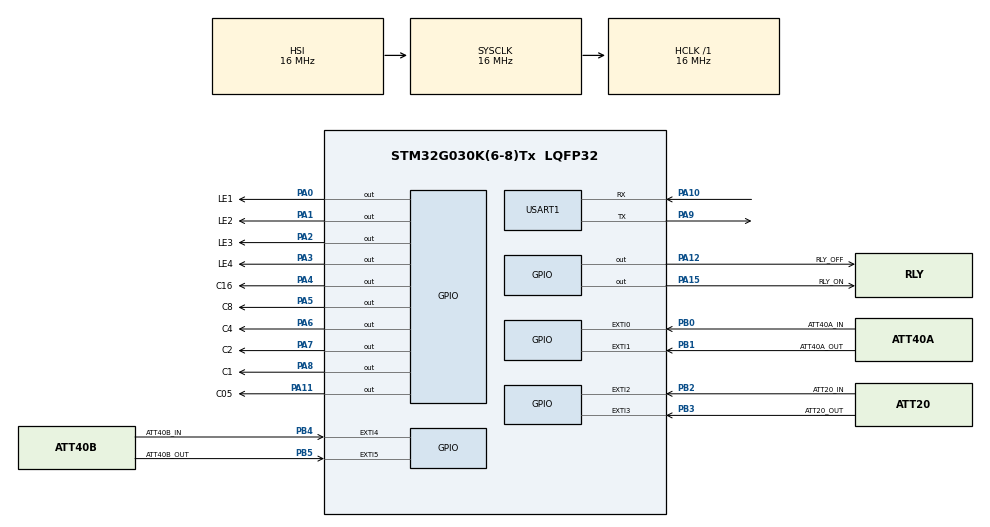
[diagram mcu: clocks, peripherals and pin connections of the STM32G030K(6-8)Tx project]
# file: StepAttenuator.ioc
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Mcu.Family=STM32G0
Mcu.Name=STM32G030K(6-8)Tx
Mcu.Package=LQFP32
NVIC.EXTI0_1_IRQn=true\:0\:0\:false\:false\:true\:true\:true\:true
NVIC.EXTI2_3_IRQn=true\:0\:0\:false\:false\:true\:true\:true\:true
NVIC.EXTI4_15_IRQn=true\:0\:0\:false\:false\:true\:true\:true\:true
PA0.GPIO_Label=LE1
PA0.Signal=GPIO_Output
PA1.GPIO_Label=LE2
PA1.Signal=GPIO_Output
PA10.Mode=Asynchronous
PA10.Signal=USART1_RX
PA11\ [PA9].GPIO_Label=C05
PA11\ [PA9].Signal=GPIO_Output
PA12\ [PA10].GPIO_Label=RLY_OFF
PA12\ [PA10].Signal=GPIO_Output
PA13.Mode=Serial_Wire
PA13.Signal=SYS_SWDIO
PA14-BOOT0.Mode=Serial_Wire
PA14-BOOT0.Signal=SYS_SWCLK
PA15.GPIO_Label=RLY_ON
PA15.Signal=GPIO_Output
PA2.GPIO_Label=LE3
PA2.Signal=GPIO_Output
PA3.GPIO_Label=LE4
PA3.Signal=GPIO_Output
PA4.GPIO_Label=C16
PA4.Signal=GPIO_Output
PA5.GPIO_Label=C8
PA5.Signal=GPIO_Output
PA6.GPIO_Label=C4
PA6.Signal=GPIO_Output
PA7.GPIO_Label=C2
PA7.Signal=GPIO_Output
PA8.GPIO_Label=C1
PA8.Signal=GPIO_Output
PA9.Mode=Asynchronous
PA9.Signal=USART1_TX
PB0.GPIO_Label=ATT40A_IN
PB0.GPIO_ModeDefaultEXTI=GPIO_MODE_IT_FALLING
PB0.GPIO_PuPd=GPIO_PULLUP
PB0.Signal=GPXTI0
PB1.GPIO_Label=ATT40A_OUT
PB1.GPIO_ModeDefaultEXTI=GPIO_MODE_IT_FALLING
PB1.GPIO_PuPd=GPIO_PULLUP
PB1.Signal=GPXTI1
PB2.GPIO_Label=ATT20_IN
PB2.GPIO_ModeDefaultEXTI=GPIO_MODE_IT_FALLING
PB2.GPIO_PuPd=GPIO_PULLUP
PB2.Signal=GPXTI2
PB3.GPIO_Label=ATT20_OUT
PB3.GPIO_ModeDefaultEXTI=GPIO_MODE_IT_FALLING
PB3.GPIO_PuPd=GPIO_PULLUP
PB3.Signal=GPXTI3
PB4.GPIO_Label=ATT40B_IN
PB4.GPIO_ModeDefaultEXTI=GPIO_MODE_IT_FALLING
PB4.GPIO_PuPd=GPIO_PULLUP
PB4.Signal=GPXTI4
PB5.GPIO_Label=ATT40B_OUT
PB5.GPIO_ModeDefaultEXTI=GPIO_MODE_IT_FALLING
PB5.GPIO_PuPd=GPIO_PULLUP
PB5.Signal=GPXTI5
ProjectManager.HeapSize=0x200
ProjectManager.StackSize=0x400
ProjectManager.TargetToolchain=STM32CubeIDE
RCC.AHBFreq_Value=16000000
RCC.CortexFreq_Value=16000000
RCC.EXTERNAL_CLOCK_VALUE=12288000
RCC.HCLKFreq_Value=16000000
RCC.HSE_VALUE=8000000
RCC.HSI_VALUE=16000000
RCC.LSE_VALUE=32768
RCC.SYSCLKFreq_VALUE=16000000
RCC.VCOOutputFreq_Value=128000000
USART1.VirtualMode-Asynchronous=VM_ASYNC
board=custom

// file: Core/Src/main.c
/* USER CODE BEGIN Header */
/**
  ******************************************************************************
  * @file           : main.c
  * @brief          : Main program body
  ******************************************************************************
  * @attention
  *
  * Copyright (c) 2026 STMicroelectronics.
  * All rights reserved.
  *
  * This software is licensed under terms that can be found in the LICENSE file
  * in the root directory of this software component.
  * If no LICENSE file comes with this software, it is provided AS-IS.
  *
  ******************************************************************************
  */
/*
 * SERVICE MODE
 * ============
 * This operation mode allows testing of each individual attenuator pad
 *
 * Wiring to J5 (MI2955 header):
 * +5V pin 5/7/9
 * GND pin 2
 * 6 buttons connected between GND and
 * pin 1 - 40dB_A_IN   Button 1
 * pin 3 - 40dB_A_OUT  Button 2
 * pin 4 - 20dB_IN     Button 3
 * pin 6 - 20dB_OUT    Button 4
 * pin 8 - 40dB_B_IN   Button 5
 * pin 10 -40dB_B_OUT  Button 6
 *
 * Wiring to STM32 MCU for text output to a 3.3V to USB Converter
 * pin 19 - USART1 TX
 * pin 21 - USART1 RX (Not required, leave disconnected)
 * !! Note: Using a 5V TTL converter/USB the RX input should be able to read the
 * !! 3V3 signal from the MCU.
 * !! Do not connect the convert TX signal to USART1 RX unless you fit a V-Divider to
 * !! drop the voltage to 3.3V divider with 1K8/3K3 resistors will work
 *
 * Service Mode Operation
 * ----------------------
 * 1) Hold in B1 and B2 and one of the other buttons (B3=U2, B4=U3, etc) to enable
 *    service mode for one attenuator pad.
 * 2) Apply power to the board
 * 3) Wait for text to appear on the serial interface
 * 4) Release all buttons
 * Service mode is now enabled with the following functions
 * B1 - Increment attenuation value by 0.5dB
 * B2 - Decrement attenuation value by 0.5dB
 * B3 - Toggle bypass relay
 * To end service mode power cycle the board
 *
 */

/* USER CODE END Header */
#include "main.h"
#include "usart.h"
#include "gpio.h"

/* USER CODE BEGIN Includes */
#include <stdbool.h>
#include <stdio.h>
/* USER CODE END Includes */

/* USER CODE BEGIN PD */
#define PE4312_TIME 1	// [ms] delay between signal changes on the pads
#define SERVICE_SIGNAL_DEBOUNCE 200 // [ms] debounce time for Service Mode signals
/* USER CODE END PD */

/* USER CODE BEGIN PV */
// Volatile declaration for access in ISR and main program
volatile bool Att40A_state = false;
volatile bool Att40B_state = false;
volatile bool Att20_state = false;
volatile bool AttStateChanged = false;
volatile bool ServiceMode = false;				// Service mode for manual control
volatile bool ServiceModeInc = false;			// Service mode value increment
volatile bool ServiceModeDec = false;			// Service mode value decrement
volatile bool ServiceModeBypass = false;		// Service mode bypass enable
volatile bool ServiceModeBypassChanged = false;
bool ServicePE1 = false;
bool ServicePE2 = false;
bool ServicePE3 = false;
bool ServicePE4 = false;
int ServiceValue = 0;
volatile uint32_t ServiceLast_exti_time = 0;
/*
 * This matrix represents the attenuation settings for each of the 4 pad
 * in the attenuation circuit.
 * Power dissipation %age per pad is shown in line comments.
 * The maximum power dissipation per pad is +24dBm
 * At 100dB total attenuation the max input power to the
 * attenuator is +26.74dBm (472mW)
 *
 * NOTE: each attenuator pad has a typical insertion loss of 1.3dB (<1gHz) which
 * is taken into account in the below configuration. The attenuation
 * figures in brackets in the line comment represent attenuation
 * including the pad insertion losses
*/
const int ATTENUATOR_MATRIX[6][4] = {
    {  0,   0,   0,   0},  // 0dB: bypass via relay (total insertion loss of pads is 5.2dB)
    {  0,   5,  15, 130},  // 20.2dB  25.9%, 25.1%, 23.3%, 24.7% (1.3dB,1.8dB,2.8dB,14.3dB)
    {  0,  10,  30, 310},  // 40.2dB: 25.9%, 3.5%, 27.4%, 16.2% (1.3dB,2.3dB,4.3dB,32.3dB)
    {  5,  15, 220, 310},  // 60.2dB: 33.9%, 31.4%, 34.5%, 0.2% (1.8dB,2.8dB,23.3dB,32.3dB
    { 15, 105, 310, 310},  // 80.2dB: 47.5%, 49.7%, 2.7%, 0% (2.8dB,11.5dB,32.3dB,32.3dB)
    { 20, 310, 310, 310}   // 100.2dB: 53.2%, 46.7%, 0%, 0% (3.3dB,32.3dB,32.3dB,32.3dB)
/*	figures without pad insertion loss
    { 10,  15,  30, 145},  // 20dB  20.6%, 23.2%, 28%, 27.2%
    { 15,  25,  50, 310},  // 40dB: 29.2%, 31%, 27.2%, 12.6%
    { 15,  30, 245, 310},  // 60dB: 29.2%, 35.3%, 35.3%, 0.2%
    { 30, 150, 310, 310},  // 80dB: 49.9%, 48.5%, 1.6%, 0%
    { 70, 310, 310, 310}   // 100dB: 80%, 20%, 0%, 0%
*/
};

/* USER CODE END PV */

void SystemClock_Config(void);

/* USER CODE BEGIN 0 */

/**
  * @brief  Redirects standard output (printf) to the USART1 peripheral.
  * @param  file: Not used in this implementation.
  * @param  ptr: Pointer to the string buffer to transmit.
  * @param  len: Length of the string data to transmit.
  * @retval Number of characters transmitted.
  */
int _write(int file, char *ptr, int len)
{
  // External reference to the UART handle generated by CubeMX
  extern UART_HandleTypeDef huart1;

  // Transmit data over USART1 with a safe 100ms timeout window
  HAL_UART_Transmit(&huart1, (uint8_t*)ptr, len, 100);

  return len;
}

/**
 * @brief  Print service mode selected attenuator
 */
void print_service_mode_PE(void)
{
	if (ServicePE1) {
		printf("ATT1(U2)");
	} else if (ServicePE2){
		printf("ATT2(U3)");
	} else if (ServicePE3){
		printf("ATT3(U4)");
	} else if (ServicePE4){
		printf("ATT4(U5)");
	}
}

/**
 * @brief  Handle button interrupt in service mode
 */
void HAL_GPIO_EXTI_ServiceMode(uint16_t GPIO_Pin){
  uint32_t current_time = HAL_GetTick();
  // debounce service mode signals by ignoring signals for debounce time
  if ((current_time - ServiceLast_exti_time) < SERVICE_SIGNAL_DEBOUNCE) return;

  if (GPIO_Pin == ATT40A_IN_Pin)
  {
	ServiceModeInc = true;
  } else if (GPIO_Pin == ATT40A_OUT_Pin)
  {
	ServiceModeDec = true;
  } else if (GPIO_Pin == ATT20_IN_Pin)
  {
	ServiceModeBypass = !ServiceModeBypass;
	ServiceModeBypassChanged = true;
  }
  ServiceLast_exti_time = HAL_GetTick();
}

/**
 * @brief  Callback when attenuator setting inputs change
 */
void HAL_GPIO_EXTI_Falling_Callback(uint16_t GPIO_Pin)
{
  if (!ServiceMode) {
	if (GPIO_Pin == ATT40A_IN_Pin)
	{
		if (Att40A_state != true) AttStateChanged = true;
	    Att40A_state = true;
	} else if (GPIO_Pin == ATT40A_OUT_Pin)
	{
	    if (Att40A_state != false) AttStateChanged = true;
	    Att40A_state = false;
	} else if (GPIO_Pin == ATT20_IN_Pin)
	{
		if (Att20_state != true) AttStateChanged = true;
	    Att20_state = true;
	} else if (GPIO_Pin == ATT20_OUT_Pin)
	{
		if (Att20_state != false) AttStateChanged = true;
		Att20_state = false;
	} else if (GPIO_Pin == ATT40B_IN_Pin)
	{
		if (Att40B_state != true) AttStateChanged = true;
		Att40B_state = true;
	} else if (GPIO_Pin == ATT40B_OUT_Pin)
	{
		if (Att40B_state != false) AttStateChanged = true;
		Att40B_state = false;
	}
  } else {	// Service mode active
	  HAL_GPIO_EXTI_ServiceMode(GPIO_Pin);
  }
}

/**
 * @brief	Put MCU into stop mode until wake up by External Interrupt
 * @note	Upon wake up the MCU executes the ISR before code resumption
 */
void MCU_stop()
{
	/* Clear any pending flags and prepare for sleep */
	// It is good practice to wait for any signals to be fully released
	// so you don't instantly re-wake up from a lingering touch.
	HAL_Delay(500);

	/* ENTER DEEP SLEEP (STOP MODE) */
	/* This command drops current consumption to micro-amps.
       Execution pauses here until PB0-PB5 triggers an interrupt. */
	HAL_PWR_EnterSTOPMode(PWR_LOWPOWERREGULATOR_ON, PWR_STOPENTRY_WFI);

	/* When execution resumes after MCU stop, the interrupt service routine (ISR)
	 * will be executed before resuming execution at this point */

	/* IMPORTANT: RESTORE SYSTEM CLOCKS IMMEDIATELY AFTER WAKING UP */
	/* When waking from STOP mode, the STM32G0 always defaults back to
	   its internal HSI clock (16 MHz) and disables your high-speed PLL.
	   You must call this function to safely rebuild your clock tree back to
	   your configured speed (e.g., 64 MHz). */
	SystemClock_Config();

    /* Handle any post-wakeup operations */
	// Code here executes immediately after the clock is restored

}

/**
  * @brief  Set attenuator bypass relay
  * @param attValue: attenuator setpoint in dB
  */
void attenuator_bypass_relay(int attValue){
	//Switch relay into ON/OFF state
	if (attValue == 0) {
		HAL_GPIO_WritePin(RLY_ON_GPIO_Port, RLY_ON_Pin, GPIO_PIN_SET);
		HAL_GPIO_WritePin(RLY_OFF_GPIO_Port, RLY_OFF_Pin, GPIO_PIN_RESET);
	} else {
		HAL_GPIO_WritePin(RLY_ON_GPIO_Port, RLY_ON_Pin, GPIO_PIN_RESET);
		HAL_GPIO_WritePin(RLY_OFF_GPIO_Port, RLY_OFF_Pin, GPIO_PIN_SET);
	}
	// Time for relay to resume new position
	HAL_Delay(200);
	// The relay will stay in position without power
	HAL_GPIO_WritePin(RLY_ON_GPIO_Port, RLY_ON_Pin, GPIO_PIN_RESET);
	HAL_GPIO_WritePin(RLY_OFF_GPIO_Port, RLY_OFF_Pin, GPIO_PIN_RESET);
}

/**
  * @brief  Set attenuator value on parallel control lines
  * @param attValue: pad set point in dB x 10
  * @retval True on success
  */
// Pad attenuation range is 0-31.5dB in 0.5dB steps
bool attenuator_set_value(int attValue)
{
	// range check
	if ((attValue > 315) || (attValue < 0)) { return false; }
	int att = attValue;
	if (att >= 160) {
		HAL_GPIO_WritePin(C16_GPIO_Port, C16_Pin, GPIO_PIN_SET);
		att -= 160;
	} else {
		HAL_GPIO_WritePin(C16_GPIO_Port, C16_Pin, GPIO_PIN_RESET);
	}
	if (att >= 80) {
		HAL_GPIO_WritePin(C16_GPIO_Port, C8_Pin, GPIO_PIN_SET);
		att -= 80;
	} else {
		HAL_GPIO_WritePin(C16_GPIO_Port, C8_Pin, GPIO_PIN_RESET);
	}
	if (att >= 40) {
		HAL_GPIO_WritePin(C16_GPIO_Port, C4_Pin, GPIO_PIN_SET);
		att -= 40;
	} else {
		HAL_GPIO_WritePin(C16_GPIO_Port, C4_Pin, GPIO_PIN_RESET);
	}
	if (att >= 20) {
		HAL_GPIO_WritePin(C16_GPIO_Port, C2_Pin, GPIO_PIN_SET);
		att -= 20;
	} else {
		HAL_GPIO_WritePin(C16_GPIO_Port, C2_Pin, GPIO_PIN_RESET);
	}
	if (att >= 10) {
		HAL_GPIO_WritePin(C16_GPIO_Port, C1_Pin, GPIO_PIN_SET);
		att -= 10;
	} else {
		HAL_GPIO_WritePin(C16_GPIO_Port, C1_Pin, GPIO_PIN_RESET);
	}
	if (att >= 5) {
		HAL_GPIO_WritePin(C16_GPIO_Port, C05_Pin, GPIO_PIN_SET);
		att -= 5;
	} else {
		HAL_GPIO_WritePin(C16_GPIO_Port, C05_Pin, GPIO_PIN_RESET);
	}

    return true;
}

/**
  * @brief  Set attenuator pads to correct value
  * @param attValue: attenuator total attenuation in dB
  */
void attenuator_set_pads(int attValue) {
	// Possible values: 0, 20, 40, 60, 80, 100
	// Convert to array index 0,1,2,3,4,5
	int attIndex = attValue/20;
	// All latch signals off
	HAL_GPIO_WritePin(LE1_GPIO_Port, LE1_Pin, GPIO_PIN_RESET);
	HAL_GPIO_WritePin(LE2_GPIO_Port, LE2_Pin, GPIO_PIN_RESET);
	HAL_GPIO_WritePin(LE3_GPIO_Port, LE3_Pin, GPIO_PIN_RESET);
	HAL_GPIO_WritePin(LE4_GPIO_Port, LE4_Pin, GPIO_PIN_RESET);
	HAL_Delay(PE4312_TIME);

	// Attenuator Pad 1
	attenuator_set_value(ATTENUATOR_MATRIX[attIndex][0]);
	HAL_Delay(PE4312_TIME);
	// latch value into pad
	HAL_GPIO_WritePin(LE1_GPIO_Port, LE1_Pin, GPIO_PIN_SET);
	HAL_Delay(PE4312_TIME);
	HAL_GPIO_WritePin(LE1_GPIO_Port, LE1_Pin, GPIO_PIN_RESET);

	// Attenuator Pad 2
	attenuator_set_value(ATTENUATOR_MATRIX[attIndex][1]);
	HAL_Delay(PE4312_TIME);
	// latch value into pad
	HAL_GPIO_WritePin(LE2_GPIO_Port, LE2_Pin, GPIO_PIN_SET);
	HAL_Delay(PE4312_TIME);
	HAL_GPIO_WritePin(LE2_GPIO_Port, LE2_Pin, GPIO_PIN_RESET);

	// Attenuator Pad 3
	attenuator_set_value(ATTENUATOR_MATRIX[attIndex][2]);
	HAL_Delay(PE4312_TIME);
	// latch value into pad
	HAL_GPIO_WritePin(LE3_GPIO_Port, LE3_Pin, GPIO_PIN_SET);
	HAL_Delay(PE4312_TIME);
	HAL_GPIO_WritePin(LE3_GPIO_Port, LE3_Pin, GPIO_PIN_RESET);

	// Attenuator Pad 4
	attenuator_set_value(ATTENUATOR_MATRIX[attIndex][3]);
	HAL_Delay(PE4312_TIME);
	// latch value into pad
	HAL_GPIO_WritePin(LE4_GPIO_Port, LE4_Pin, GPIO_PIN_SET);
	HAL_Delay(PE4312_TIME);
	HAL_GPIO_WritePin(LE4_GPIO_Port, LE4_Pin, GPIO_PIN_RESET);
}

/**
  * @brief  Set attenuator pad service value on service pad
  */
void attenuator_set_service(void) {
	// All latch signals off
	HAL_GPIO_WritePin(LE1_GPIO_Port, LE1_Pin, GPIO_PIN_RESET);
	HAL_GPIO_WritePin(LE2_GPIO_Port, LE2_Pin, GPIO_PIN_RESET);
	HAL_GPIO_WritePin(LE3_GPIO_Port, LE3_Pin, GPIO_PIN_RESET);
	HAL_GPIO_WritePin(LE4_GPIO_Port, LE4_Pin, GPIO_PIN_RESET);
	HAL_Delay(PE4312_TIME);

	attenuator_set_value(ServiceValue);
	if (ServicePE1) {
		HAL_GPIO_WritePin(LE1_GPIO_Port, LE1_Pin, GPIO_PIN_SET);
		HAL_Delay(PE4312_TIME);
		HAL_GPIO_WritePin(LE1_GPIO_Port, LE1_Pin, GPIO_PIN_RESET);
	} else if (ServicePE2)
	{
		HAL_GPIO_WritePin(LE2_GPIO_Port, LE2_Pin, GPIO_PIN_SET);
		HAL_Delay(PE4312_TIME);
		HAL_GPIO_WritePin(LE2_GPIO_Port, LE2_Pin, GPIO_PIN_RESET);
	} else if (ServicePE3)
	{
		HAL_GPIO_WritePin(LE3_GPIO_Port, LE3_Pin, GPIO_PIN_SET);
		HAL_Delay(PE4312_TIME);
		HAL_GPIO_WritePin(LE3_GPIO_Port, LE3_Pin, GPIO_PIN_RESET);
	} else if (ServicePE4)
	{
		HAL_GPIO_WritePin(LE4_GPIO_Port, LE4_Pin, GPIO_PIN_SET);
		HAL_Delay(PE4312_TIME);
		HAL_GPIO_WritePin(LE4_GPIO_Port, LE4_Pin, GPIO_PIN_RESET);
	}
	HAL_Delay(PE4312_TIME);
}

/**
  * @brief  Set attenuation in accordance with attenuator state
  */
void attenuator_set(void)
{
	int attValue = 0;
	// Calculate total attenuation
	if (Att40A_state) attValue += 40;
	if (Att40B_state) attValue += 40;
	if (Att20_state) attValue += 20;
	// Set bypass relay
	attenuator_bypass_relay(attValue);
	// set all attenuator pads
	attenuator_set_pads(attValue);
}

/* USER CODE END 0 */

int main(void)
{

  /* MCU Configuration--------------------------------------------------------*/

  /* Reset of all peripherals, Initializes the Flash interface and the Systick. */
  HAL_Init();

  /* Configure the system clock */
  SystemClock_Config();

  /* Initialize all configured peripherals */
  MX_GPIO_Init();
  MX_USART1_UART_Init();
  /* USER CODE BEGIN 2 */

  // Check for service mode (ATT40A_IN and ATT40A_OUT activated [low])
  // Other inputs to select attenuator pad to test
  if (HAL_GPIO_ReadPin(ATT40A_IN_GPIO_Port, ATT40A_IN_Pin) == GPIO_PIN_RESET)
  {
    if (HAL_GPIO_ReadPin(ATT40A_OUT_GPIO_Port, ATT40A_OUT_Pin) == GPIO_PIN_RESET)
    {
      ServiceMode = true;
      printf("Service Mode selected - release buttons\r\n");
	  if (HAL_GPIO_ReadPin(ATT20_IN_GPIO_Port, ATT20_IN_Pin) == GPIO_PIN_RESET)
	  {
      ServicePE1 = true;
	  } else if (HAL_GPIO_ReadPin(ATT20_OUT_GPIO_Port, ATT20_OUT_Pin) == GPIO_PIN_RESET)
	  {
	    ServicePE2 = true;
	  } else if (HAL_GPIO_ReadPin(ATT40B_IN_GPIO_Port, ATT40B_IN_Pin) == GPIO_PIN_RESET)
	  {
	    ServicePE3 = true;
	  } else if (HAL_GPIO_ReadPin(ATT40B_OUT_GPIO_Port, ATT40B_OUT_Pin) == GPIO_PIN_RESET)
	  {
	    ServicePE4 = true;
	  } else {
	  	ServicePE1 = true;	// in case 3rd button is not pressed
	  }
	  // Set bypass relay off
	  attenuator_bypass_relay(100);
	  // set all attenuator pads to 0dB
	  attenuator_set_pads(0);
    }
    // Wait for service mode trigger to be released
    while (1)
    {
      if (HAL_GPIO_ReadPin(ATT40A_IN_GPIO_Port, ATT40A_IN_Pin) == GPIO_PIN_SET) {
    	  if (HAL_GPIO_ReadPin(ATT40A_OUT_GPIO_Port, ATT40A_OUT_Pin) == GPIO_PIN_SET) {
    		break;
    	  }
      }
    }
    print_service_mode_PE();
    printf(" Service\r\n");
    HAL_Delay(200); 	// Let inputs settle.
  }
  /* USER CODE END 2 */

  /* Infinite loop */
  /* USER CODE BEGIN WHILE */
  while (1)
  {
	if (!ServiceMode)
	// Normal operation mode
	{
		// change attenuator setting
		if (AttStateChanged)
		{
		  attenuator_set();
		  AttStateChanged = false;
		}
		MCU_stop();
	} else
	// Service Mode
	{
	  // Bypass relay
	  if (ServiceModeBypassChanged) {
	    ServiceModeBypassChanged = false;
	    attenuator_bypass_relay(!ServiceModeBypass);
	    printf("Bypass relay: %d\r\n", ServiceModeBypass);
	  }
	  if (ServiceModeInc) {
	  	if (ServiceValue <= 310) ServiceValue += 5;
	  	else ServiceValue = 0;
	  	ServiceModeInc = false;
	  	print_service_mode_PE();
	  	printf(" %d dB x 10", ServiceValue);
	  	attenuator_set_service();
	  }
	  if (ServiceModeDec) {
	  	if (ServiceValue >= 5) ServiceValue -= 5;
	  	else ServiceValue = 315;
	  	ServiceModeDec = false;
	  	print_service_mode_PE();
	  	printf(" %d dB x 10", ServiceValue);
	  	attenuator_set_service();
	  }
		HAL_Delay(10);
	}
    /* USER CODE END WHILE */

  }
}

void SystemClock_Config(void)
{
  RCC_OscInitTypeDef RCC_OscInitStruct = {0};
  RCC_ClkInitTypeDef RCC_ClkInitStruct = {0};

  /** Configure the main internal regulator output voltage
  */
  HAL_PWREx_ControlVoltageScaling(PWR_REGULATOR_VOLTAGE_SCALE1);

  /** Initializes the RCC Oscillators according to the specified parameters
  * in the RCC_OscInitTypeDef structure.
  */
  RCC_OscInitStruct.OscillatorType = RCC_OSCILLATORTYPE_HSI;
  RCC_OscInitStruct.HSIState = RCC_HSI_ON;
  RCC_OscInitStruct.HSIDiv = RCC_HSI_DIV1;
  RCC_OscInitStruct.HSICalibrationValue = RCC_HSICALIBRATION_DEFAULT;
  RCC_OscInitStruct.PLL.PLLState = RCC_PLL_NONE;
  if (HAL_RCC_OscConfig(&RCC_OscInitStruct) != HAL_OK)
  {
    Error_Handler();
  }

  /** Initializes the CPU, AHB and APB buses clocks
  */
  RCC_ClkInitStruct.ClockType = RCC_CLOCKTYPE_HCLK|RCC_CLOCKTYPE_SYSCLK
                              |RCC_CLOCKTYPE_PCLK1;
  RCC_ClkInitStruct.SYSCLKSource = RCC_SYSCLKSOURCE_HSI;
  RCC_ClkInitStruct.AHBCLKDivider = RCC_SYSCLK_DIV1;
  RCC_ClkInitStruct.APB1CLKDivider = RCC_HCLK_DIV1;

  if (HAL_RCC_ClockConfig(&RCC_ClkInitStruct, FLASH_LATENCY_0) != HAL_OK)
  {
    Error_Handler();
  }
}

void Error_Handler(void)
{
  __disable_irq();
  while (1)
  {
  }
}
